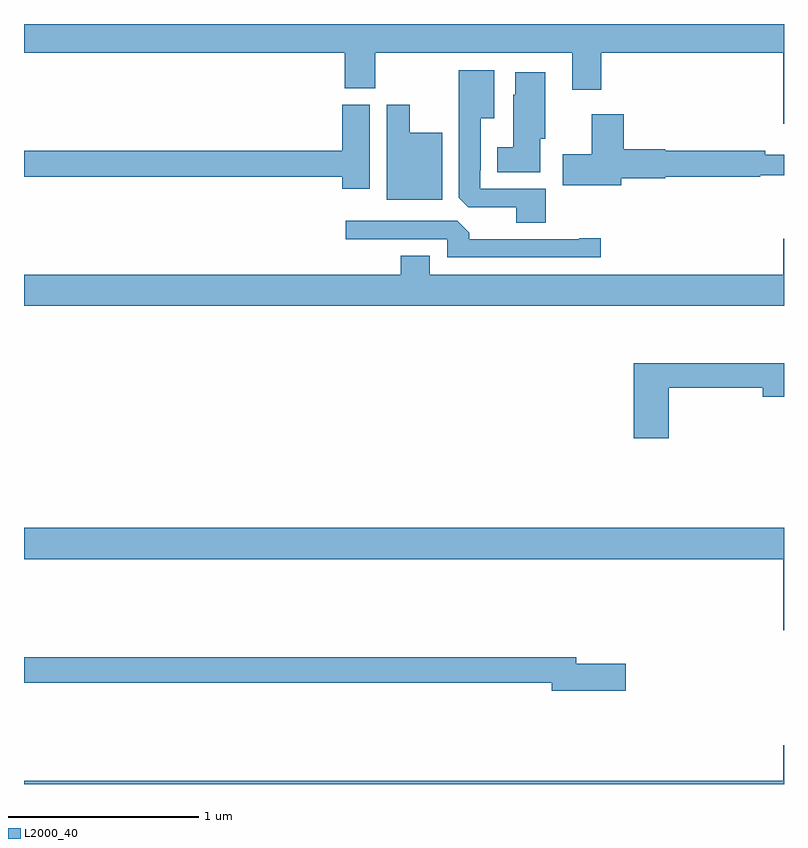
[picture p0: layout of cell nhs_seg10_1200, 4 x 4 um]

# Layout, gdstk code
import gdstk
lib = gdstk.Library(unit=1e-6, precision=1e-09)
def P(c, l, *ps):  # polygons
    for p in ps: c.add(gdstk.Polygon(p, *l))
L2000_40 = (2000, 40)

nhs_seg10_1200 = lib.new_cell('nhs_seg10_1200')
P(nhs_seg10_1200, L2000_40, [(177,1268.5),(173,1268.5),(173,1268.348),(174.689,1268.348),(174.689,1268.161),(174.849,1268.161),(174.849,1268.348),(175.886,1268.348),(175.886,1268.154),(176.039,1268.154),(176.039,1268.348),(176.996,1268.348),(176.996,1267.974),(177,1267.974)],
  [(175.745,1267.632),(175.401,1267.632),(175.401,1267.729),(175.405,1267.729),(175.405,1268.003),(175.474,1268.003),(175.474,1268.257),(175.289,1268.257),(175.289,1267.585),(175.338,1267.536),(175.592,1267.536),(175.592,1267.453),(175.745,1267.453)],
  [(175.717,1267.896),(175.744,1267.896),(175.744,1268.245),(175.586,1268.245),(175.586,1268.127),(175.574,1268.127),(175.574,1267.852),(175.49,1267.852),(175.49,1267.721),(175.717,1267.721)],
  [(174.82,1268.076),(174.674,1268.076),(174.674,1267.832),(173,1267.832),(173,1267.696),(174.674,1267.696),(174.674,1267.632),(174.82,1267.632)],
  [(175.201,1267.927),(175.03,1267.927),(175.03,1268.074),(174.908,1268.074),(174.908,1267.574),(175.201,1267.574)],
  [(176.143,1267.688),(176.376,1267.688),(176.376,1267.696),(176.876,1267.696),(176.876,1267.704),(177,1267.704),(177,1267.813),(176.9,1267.813),(176.9,1267.832),(176.376,1267.832),(176.376,1267.84),(176.156,1267.84),(176.156,1268.026),(175.988,1268.026),(175.988,1267.815),(175.836,1267.815),(175.836,1267.652),(176.143,1267.652)],
  [(176.035,1267.373),(175.922,1267.373),(175.922,1267.368),(175.343,1267.368),(175.343,1267.402),(175.281,1267.464),(174.693,1267.464),(174.693,1267.368),(175.227,1267.368),(175.227,1267.272),(176.035,1267.272)],
  [(177,1267.369),(176.996,1267.369),(176.996,1267.18),(175.135,1267.18),(175.135,1267.279),(174.983,1267.279),(174.983,1267.18),(173,1267.18),(173,1267.016),(177,1267.016)],
  [(176.393,1266.586),(176.888,1266.586),(176.888,1266.539),(177,1266.539),(177,1266.715),(176.21,1266.715),(176.21,1266.321),(176.393,1266.321)],
  [(177,1265.848),(173,1265.848),(173,1265.684),(176.996,1265.684),(176.996,1265.31),(177,1265.31)],
  [(176.167,1265.132),(175.906,1265.132),(175.906,1265.168),(173,1265.168),(173,1265.032),(175.778,1265.032),(175.778,1264.99),(176.167,1264.99)],
  [(177,1264.705),(176.996,1264.705),(176.996,1264.516),(173,1264.516),(173,1264.5),(177,1264.5)])

lib.write_gds('nhs_seg10_1200.gds')
